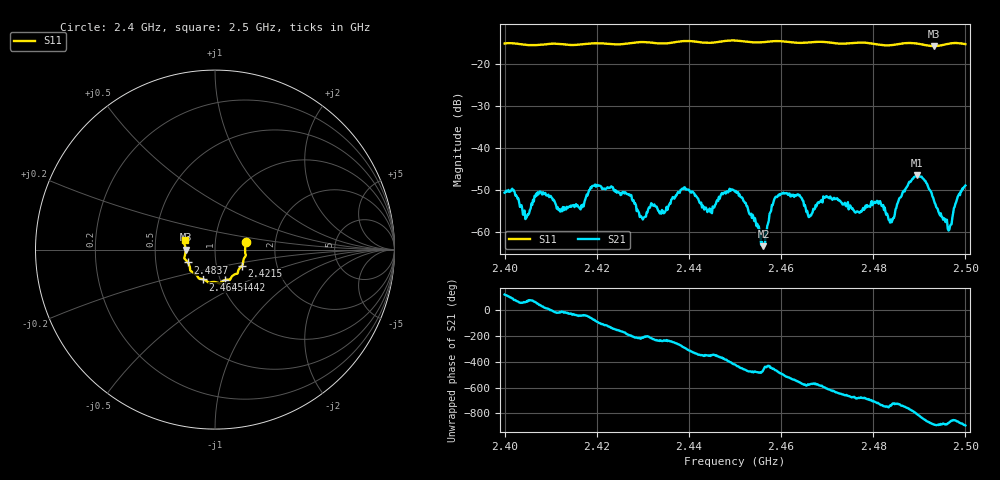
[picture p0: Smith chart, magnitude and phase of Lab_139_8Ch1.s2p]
# Hz S RI R 50
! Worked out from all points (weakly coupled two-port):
!   601 points, 2.4 GHz to 2.5 GHz, reference 50 ohm
!   highest |S21| = -46.47 dB at 2.4895 GHz (marker M1); lowest = -63.4 dB at 2.4562 GHz (marker M2)
!   lowest |S11| = -15.7 dB at 2.4932 GHz (marker M3), VSWR 1.39, Z = 35.9 - j0.0474 ohm
!   |S11| at or under -10 dB: start of sweep to end of sweep
!   S12 and S22 are empty: the file has one direction only
!   S11 on the Smith chart (normalised r, x): 2.4 GHz: 1.41, +0.12; 2.4215 GHz: 1.33, -0.25; 2.4442 GHz: 1.05, -0.37; 2.4645 GHz: 0.83, -0.29; 2.4837 GHz: 0.73, -0.11; 2.5 GHz: 0.71, +0.07
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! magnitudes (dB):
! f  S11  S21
! 2.4 GHz  -15.1  -50.7
! 2.4045 GHz  -15.4  -57.0
! 2.4077 GHz  -15.4  -50.3
! 2.4167 GHz  -15.3  -53.7
! 2.4215 GHz  -15.1  -49.7
! 2.427 GHz  -15.1  -51.0
! 2.4298 GHz  -14.8  -56.6
! 2.4333 GHz  -15.1  -55.0
! 2.439 GHz  -14.5  -49.4
! 2.4442 GHz  -15.0  -55.0
! 2.45 GHz  -14.4  -50.4
! 2.4562 GHz  -14.8  -63.4
! 2.459 GHz  -14.5  -51.7
! 2.4645 GHz  -15.0  -52.0
! 2.4667 GHz  -14.8  -55.6
! 2.4702 GHz  -14.8  -51.8
! 2.4833 GHz  -15.6  -57.1
! 2.4837 GHz  -15.5  -57.8
! 2.4895 GHz  -15.1  -46.5
! 2.4932 GHz  -15.7  -52.4
! 2.4967 GHz  -15.1  -58.6
! 2.5 GHz  -15.3  -48.9
